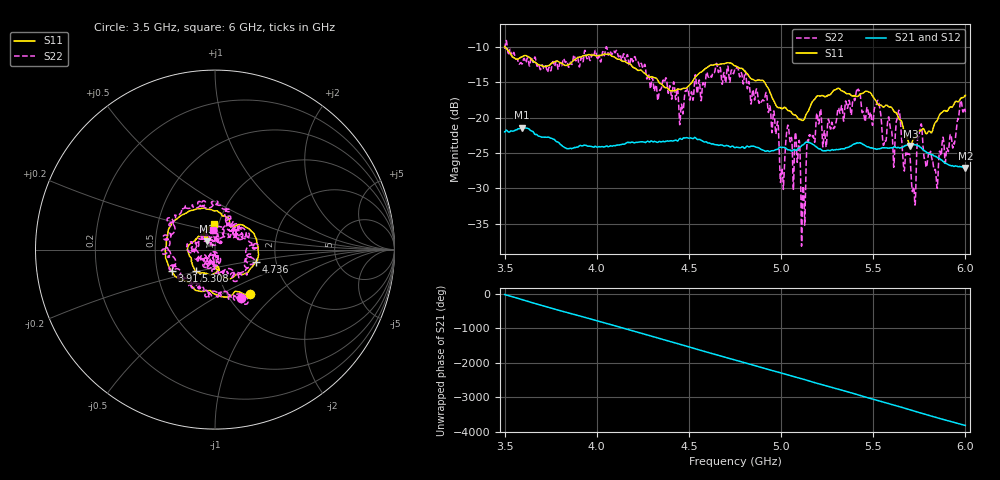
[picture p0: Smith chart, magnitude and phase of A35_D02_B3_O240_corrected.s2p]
! Created with skrf 1.9.0 (http://scikit-rf.org).
# Hz S RI R 50.0
!freq ReS11 ImS11 ReS21 ImS21 ReS12 ImS12 ReS22 ImS22
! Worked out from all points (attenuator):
!   1601 points, 3.5 GHz to 6 GHz, reference 50 ohm
!   highest |S21| = -21.43 dB at 3.594 GHz (marker M1); lowest = -27.1 dB at 6 GHz (marker M2)
!   lowest |S11| = -24.0 dB at 5.702 GHz (marker M3), VSWR 1.13, Z = 45.7 + j4.21 ohm
!   |S11| at or under -10 dB: 3.502 GHz to end of sweep
!   |S22| runs from -38.2 to -9.1 dB; largest |S21 - S12| = 0.00094
!   S11 on the Smith chart (normalised r, x): 3.5 GHz: 1.27, -0.71; 3.917 GHz: 0.60, -0.16; 4.736 GHz: 1.58, -0.22; 5.308 GHz: 0.79, -0.20; 6 GHz: 0.95, +0.28
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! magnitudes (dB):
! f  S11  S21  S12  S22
! 3.5 GHz  -9.9  -22.0  -22.0  -10.3
! 3.594 GHz  -11.4  -21.4  -21.4  -12.4
! 3.917 GHz  -11.4  -24.0  -24.0  -11.5
! 4.334 GHz  -14.9  -23.4  -23.4  -17.3
! 4.458 GHz  -16.0  -23.0  -23.0  -18.3
! 4.736 GHz  -12.4  -24.0  -24.1  -13.5
! 4.75 GHz  -12.7  -24.3  -24.2  -13.0
! 4.927 GHz  -15.7  -24.7  -24.7  -18.2
! 5.005 GHz  -18.7  -24.2  -24.2  -27.1
! 5.036 GHz  -19.0  -24.5  -24.5  -21.1
! 5.089 GHz  -20.0  -24.5  -24.5  -26.2
! 5.12 GHz  -20.4  -23.8  -23.8  -29.7
! 5.167 GHz  -17.9  -23.7  -23.7  -22.8
! 5.308 GHz  -15.9  -24.5  -24.4  -18.8
! 5.417 GHz  -17.0  -23.6  -23.6  -16.2
! 5.584 GHz  -18.5  -24.3  -24.3  -19.9
! 5.638 GHz  -20.0  -24.2  -24.2  -19.0
! 5.702 GHz  -24.0  -23.8  -23.8  -26.2
! 5.72 GHz  -23.0  -23.8  -23.8  -29.8
! 5.755 GHz  -21.9  -24.2  -24.1  -21.5
! 5.841 GHz  -20.6  -25.5  -25.5  -28.1
! 6 GHz  -16.8  -27.1  -27.0  -19.2
